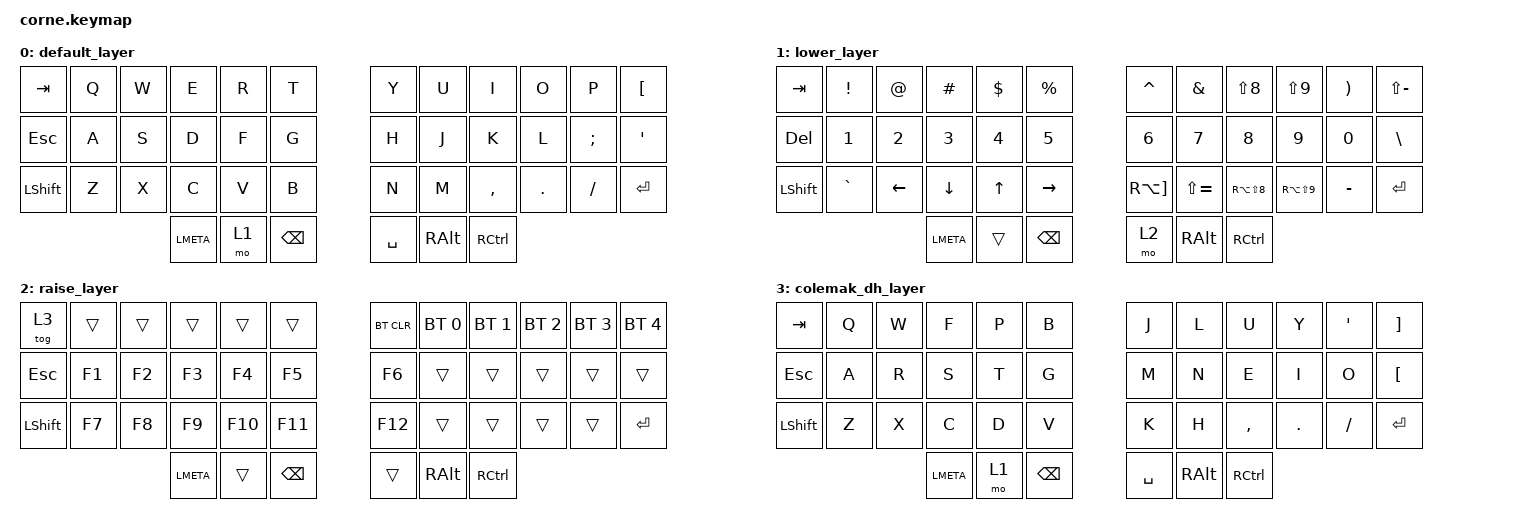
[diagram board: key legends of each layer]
/*
 * Copyright (c) 2020 The ZMK Contributors
 *
 * SPDX-License-Identifier: MIT
 */

#include <behaviors.dtsi>
#include <dt-bindings/zmk/keys.h>
#include <dt-bindings/zmk/bt.h>

/ {
        keymap {
                compatible = "zmk,keymap";

                default_layer {
// -----------------------------------------------------------------------------------------
// | TAB  | Q | W | E | R | T |   | Y | U | I | O | P | Å   |
// | ESC  | A | S | D | F | G |   | H | J | K | L | Ö | Ä   |
// | SHFT | Z | X | C | V | B |   | N | M | , | . | - | RET |
// | CMD  | LWR | BSPC |   | SPACE | OPT  | CTRL |
                        bindings = <
   &kp TAB   &kp Q &kp W    &kp E     &kp R    &kp T     &kp Y &kp U &kp I     &kp O   &kp P    &kp LBKT
   &kp ESC   &kp A &kp S    &kp D     &kp F    &kp G     &kp H &kp J &kp K     &kp L   &kp SEMI &kp SQT
   &kp LSHFT &kp Z &kp X    &kp C     &kp V    &kp B     &kp N &kp M &kp COMMA &kp DOT &kp FSLH &kp RET
   &kp LMETA &mo 1 &kp BSPC &kp SPACE &kp RALT &kp RCTRL
                        >;
                };
                lower_layer {
// -----------------------------------------------------------------------------------------
// |  TAB |  !  |  @  |  #  |  $  |  %  |   |  ^  |  &  |  *  |  (  |  )  | QMARK |
// |  DEL |  1  |  2  |  3  |  4  |  5  |   |  6  |  7  |  8  |  9  |  0  | BSLH |
// | SHFT | LFT | DWN | UP  | RGT |  NUBS  |   |   GRV  |   TIL  |   LBRC  |   RBRC  |  PLUS  | RET |
//                    | CMD |     | BSPC |   | RSE | OPT | CTRL |
                        bindings = <
   &kp TAB   &kp EXCL  &kp AT   &kp HASH &kp DLLR  &kp PRCNT &kp CARET    &kp AMPS      &kp LS(N8)     &kp LS(N9)     &kp RPAR  &kp LS(MINUS)
   &kp DEL   &kp N1    &kp N2   &kp N3   &kp N4    &kp N5    &kp N6       &kp N7        &kp N8         &kp N9         &kp N0    &kp BSLH
   &kp LSHFT &kp GRAVE &kp LEFT &kp DOWN &kp UP    &kp RIGHT &kp RA(RBKT) &kp LS(EQUAL) &kp RA(LS(N8)) &kp RA(LS(N9)) &kp MINUS &kp RET
   &kp LMETA &trans    &kp BSPC &mo 2    &kp RALT  &kp RCTRL
                        >;
                };
                raise_layer {
// -----------------------------------------------------------------------------------------
// | TGL_LAY |     |     |     |     |     |    | BTCLR| BT1 | BT2 | BT3 | BT4 | BT5 |
// | ESC |   F1  |   F2  |   F3  |   F4  |   F5  |   |  F6 |    |    |    |    |    |
// | SHFT |   F7  |  F8   |  F9   |  F10   |  F11   |   |  F12  |    |    |    |  |  RET  |
//                    | CMD |     | BSPC |  |     | OPT | CTRL |
                        bindings = <
   &tog 3  &trans &trans &trans &trans &trans &bt BT_CLR &bt BT_SEL 0 &bt BT_SEL 1 &bt BT_SEL 2 &bt BT_SEL 3 &bt BT_SEL 4
   &kp ESC    &kp F1       &kp F2       &kp F3       &kp F4       &kp F5       &kp F6  &trans  &trans &trans &trans &trans         
   &kp LSHFT  &kp F7       &kp F8       &kp F9       &kp F10      &kp F11      &kp F12 &trans  &trans &trans &trans &kp RET         
   &kp LMETA  &trans       &kp BSPC     &trans       &kp RALT     &kp RCTRL
                        >;
                };
                colemak_dh_layer {
// -----------------------------------------------------------------------------------------
// | TAB  | Q | W | F | P | B |   | J | L | U | Y | Ö | Å |
// | ESC  | A | R | S | T | G |   | M | N | E | I | O | Ä |
// | SHFT | Z | X | C | D | V |   | K | H | , | . | - | RET |
// | CMD  | LWR | BSPC |   | SPACE | OPT  | CTRL |
                        bindings = <
   &kp TAB   &kp Q &kp W    &kp F     &kp P    &kp B     &kp J &kp L &kp U     &kp Y   &kp SQT  &kp RBKT
   &kp ESC   &kp A &kp R    &kp S     &kp T    &kp G     &kp M &kp N &kp E     &kp I   &kp O    &kp LBKT
   &kp LSHFT &kp Z &kp X    &kp C     &kp D    &kp V     &kp K &kp H &kp COMMA &kp DOT &kp FSLH &kp RET
   &kp LMETA &mo 1 &kp BSPC &kp SPACE &kp RALT &kp RCTRL
                        >;
                };
        };
};
